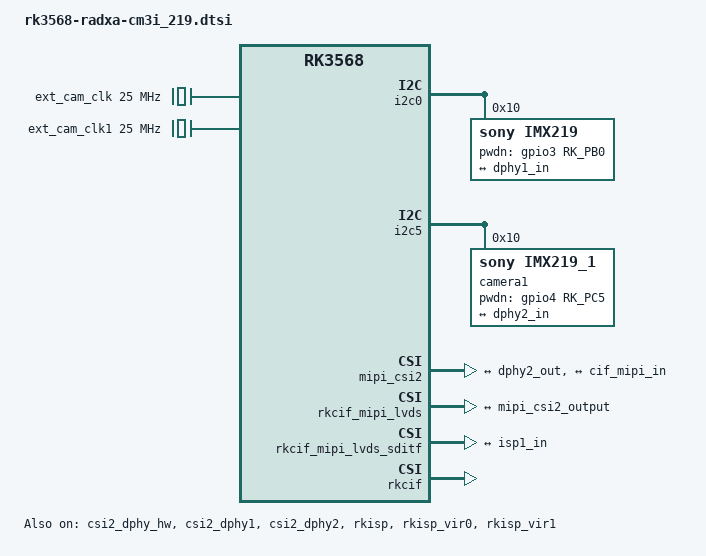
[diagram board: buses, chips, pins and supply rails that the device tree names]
// SPDX-License-Identifier: (GPL-2.0+ OR MIT)
/*
 * Copyright (c) 2022 Radxa Limited.
 *
 */

/ {
	ext_cam_clk: ext-cam-clk {
        status = "okay";
        compatible = "fixed-clock";
        clock-frequency = <25000000>;
        clock-output-names = "ext_cam_clk";
        #clock-cells = <0>;
    };

    ext_cam_clk1: ext-cam-clk1 {
        status = "okay";
        compatible = "fixed-clock";
        clock-frequency = <25000000>;
        clock-output-names = "ext_cam_clk1";
        #clock-cells = <0>;
    };
};

&i2c0 {

       status = "okay";
	   pinctrl-names = "default";
	   pinctrl-0 = <&i2c0_xfer>;

       imx219: imx219_module@10 {
               compatible = "sony,imx219";
               status = "okay";
               reg = <0x10>;
               clocks = <&ext_cam_clk>;
               clock-names = "ext_cam_clk";

               pwdn-gpios = <&gpio3 RK_PB0 GPIO_ACTIVE_HIGH>;
               rockchip,camera-module-index = <0>;
               rockchip,camera-module-facing = "back";
               rockchip,camera-module-name = "default";
               rockchip,camera-module-lens-name = "default";

               port {
                       imx219_out: endpoint {
                               remote-endpoint = <&dphy1_in>;
                               data-lanes = <1 2>;
                       };
               };
       };
	   
};

&i2c5 {

        status = "okay";
		pinctrl-names = "default";
		pinctrl-0 = <&i2c5m0_xfer>;

        camera1: camera1-module@10 {
                status = "okay";
                compatible = "sony,imx219_1";
                reg = <0x10>;
                clocks = <&ext_cam_clk1>;
                clock-names = "ext_cam_clk";
			
                pwdn-gpios = <&gpio4 RK_PC5 GPIO_ACTIVE_HIGH>;
                rockchip,camera-module-index = <1>;
                rockchip,camera-module-facing = "front";
                rockchip,camera-module-name = "default";
                rockchip,camera-module-lens-name = "default";

                port {
                        imx219_1_out: endpoint {
                                remote-endpoint = <&dphy2_in>;
                                data-lanes = <1 2>;
                        };
                };
        };
};




&csi2_dphy_hw {
       status = "okay";
};

&csi2_dphy0 {
       status = "disabled";

};

&csi2_dphy1  {
	status = "okay";

	ports {
		#address-cells = <1>;
		#size-cells = <0>;
		port@0 {
			reg = <0>;
			#address-cells = <1>;
			#size-cells = <0>;
	
			dphy1_in: endpoint@0 {
				reg = <0>;
				remote-endpoint = <&imx219_out>;
				data-lanes = <1 2>;
			};
		};
		port@1 {
			reg = <1>;
			#address-cells = <1>;
			#size-cells = <0>;

			dphy1_out: endpoint@0 {
				reg = <0>;
				remote-endpoint = <&isp0_in>;
			};
		};
	};	
};




&csi2_dphy2 {
    status = "okay";

    /*
     * dphy2 only used for split mode,
     * can be used  concurrently  with dphy1
     * full mode and split mode are mutually exclusive
     */
    ports {
        #address-cells = <1>;
        #size-cells = <0>;

        port@0 {
            reg = <0>;
            #address-cells = <1>;
            #size-cells = <0>;

            dphy2_in: endpoint@1 {
                reg = <1>;
                remote-endpoint = <&imx219_1_out>;
                data-lanes = <1 2>;
            };  
        };

        port@1 {
            reg = <1>;
            #address-cells = <1>;
            #size-cells = <0>;

            dphy2_out: endpoint@1 {
                reg = <1>;
                remote-endpoint = <&mipi_csi2_input>;
            };
        };
    };
	
};


&mipi_csi2 {
    status = "okay";

    ports {
        #address-cells = <1>;
        #size-cells = <0>;

        port@0 {
            reg = <0>;
            #address-cells = <1>;
            #size-cells = <0>;

            mipi_csi2_input: endpoint@1 {
                reg = <1>;
                remote-endpoint = <&dphy2_out>;
                data-lanes = <1 2>;
            };  
        };

        port@1 {
            reg = <1>;
            #address-cells = <1>;
            #size-cells = <0>;

            mipi_csi2_output: endpoint@0 {
                reg = <0>;
                remote-endpoint = <&cif_mipi_in>;
                data-lanes = <1 2>;
            };
        };
    };
	
};

&rkcif_mipi_lvds {
    status = "okay";

    port {
        cif_mipi_in: endpoint {
            remote-endpoint = <&mipi_csi2_output>;
            data-lanes = <1 2>;
        };
    };  
};

&rkcif_mipi_lvds_sditf {
	status = "okay";
	
	port {
		
		mipi_lvds_sditf: endpoint {
			remote-endpoint = <&isp1_in>;
			data-lanes = <1 2>;
		};
	};
};


&rkcif {
	status = "okay";
};

&rkcif_mmu {
	status = "okay";
};

&rkcif_dvp {
	status = "disabled";
};



&rkisp {
       status = "okay";
};

&rkisp_mmu {
       status = "okay";
};

&rkisp_vir0 {
       status = "okay";

       port {
               #address-cells = <1>;
               #size-cells = <0>;

               isp0_in: endpoint@0 {
                       reg = <0>;
                       remote-endpoint = <&dphy1_out>;
               };
       };
};

&rkisp_vir1 {
	status = "okay";
	port {
		#address-cells = <1>;
		#size-cells = <0>;

		isp1_in: endpoint@0 {
			reg = <0>;
			remote-endpoint = <&mipi_lvds_sditf>;
		};
	};
};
